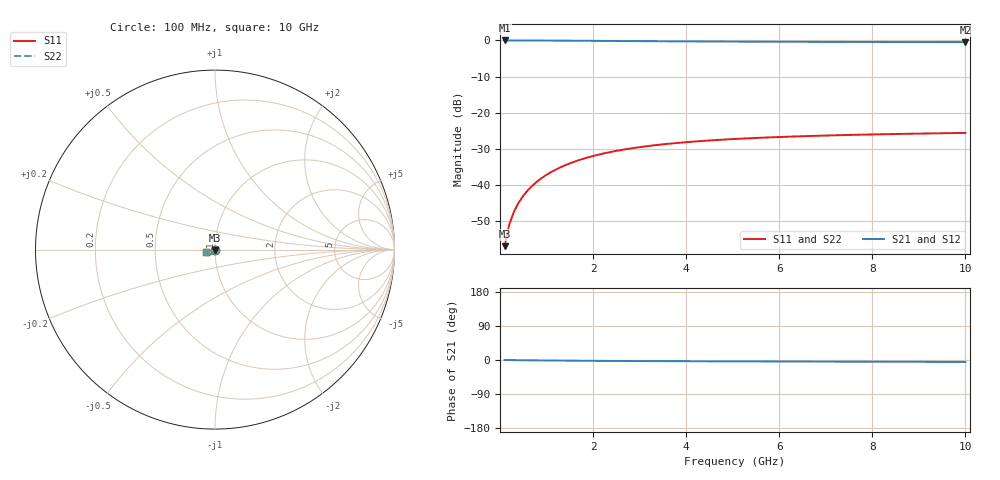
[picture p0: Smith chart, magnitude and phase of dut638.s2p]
! Touchstone file exported from HFSS 2024.1.0
!  File:  C:/UserFiles/LocalFiles/RDL_TSV_Batchsim/temp_TSV1_638_1779790816.aedt
!  Generated:  06:27:28 PM May 26, 2026
!  Design:  TSV1
!  Project:  temp_TSV1_638_1779790816
!  Setup:  Setup1
!  Solution:  Sweep
! Variables:
!  dtsv = 11.53um
!  hbump = 3um
!  htsv = 79.56um
!  lrdl = 252.1521522um
!  p = 40
!  p1 = 46.31um
!  t = 500um
!  trdl = 3um
!  wrdl = 24.89489489um
# GHz S MA R 50.000000
! Terminal data exported
! Port[1] = TSV22_T1
! Port[2] = TSV22_T2
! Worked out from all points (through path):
!   100 points, 100 MHz to 10 GHz, reference 50 ohm
!   highest |S21| = 0.00 dB at 100 MHz (marker M1); lowest = -0.5 dB at 10 GHz (marker M2)
!   lowest |S11| = -56.9 dB at 100 MHz (marker M3), VSWR 1.00, Z = 50 - j0.142 ohm
!   |S11| at or under -10 dB: start of sweep to end of sweep
!   |S22| runs from -56.9 to -25.6 dB; largest |S21 - S12| = 6.7e-15
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0.1  0.001423 -87.2  0.9998 -0.1  0.9998 -0.1  0.001423 -87.2
! Gamma 0 0 0 0
! Port Impedance 50 0 50 0
0.2  0.00284 -90.9  0.9997 -0.3  0.9997 -0.3  0.00284 -90.9
0.3  0.004258 -93.1  0.9995 -0.4  0.9995 -0.4  0.004258 -93.1
0.4  0.005671 -95.1  0.9992 -0.5  0.9992 -0.5  0.005671 -95.1
0.5  0.007074 -96.9  0.9988 -0.6  0.9988 -0.6  0.007074 -96.9
0.6  0.008464 -98.7  0.9984 -0.8  0.9984 -0.8  0.008464 -98.7
0.7  0.009836 -100.4  0.9979 -0.9  0.9979 -0.9  0.009836 -100.4
0.8  0.01119 -102.0  0.9973 -1.0  0.9973 -1.0  0.01119 -102.0
0.9  0.01251 -103.7  0.9967 -1.1  0.9967 -1.1  0.01251 -103.7
1.1  0.01509 -106.8  0.9953 -1.3  0.9953 -1.3  0.01509 -106.8
1.4  0.01874 -111.3  0.9929 -1.6  0.9929 -1.6  0.01874 -111.3
1.6  0.02101 -114.2  0.9911 -1.8  0.9911 -1.8  0.02101 -114.2
1.8  0.02315 -116.9  0.9893 -2.0  0.9893 -2.0  0.02315 -116.9
2.1  0.02612 -120.8  0.9865 -2.2  0.9865 -2.2  0.02612 -120.8
2.5  0.02963 -125.5  0.9827 -2.5  0.9827 -2.5  0.02963 -125.5
2.9  0.03267 -129.8  0.979 -2.7  0.979 -2.7  0.03267 -129.8
3.4  0.03591 -134.5  0.9748 -3.0  0.9748 -3.0  0.03591 -134.5
4.2  0.04001 -141.0  0.9689 -3.3  0.9689 -3.3  0.04001 -141.0
5.1  0.04347 -147.0  0.9635 -3.7  0.9635 -3.7  0.04347 -147.0
6.7  0.0477 -155.4  0.9564 -4.1  0.9564 -4.1  0.0477 -155.4
8.4  0.0506 -162.3  0.9514 -4.6  0.9514 -4.6  0.0506 -162.3
10  0.05249 -167.5  0.948 -5.1  0.948 -5.1  0.05249 -167.5
